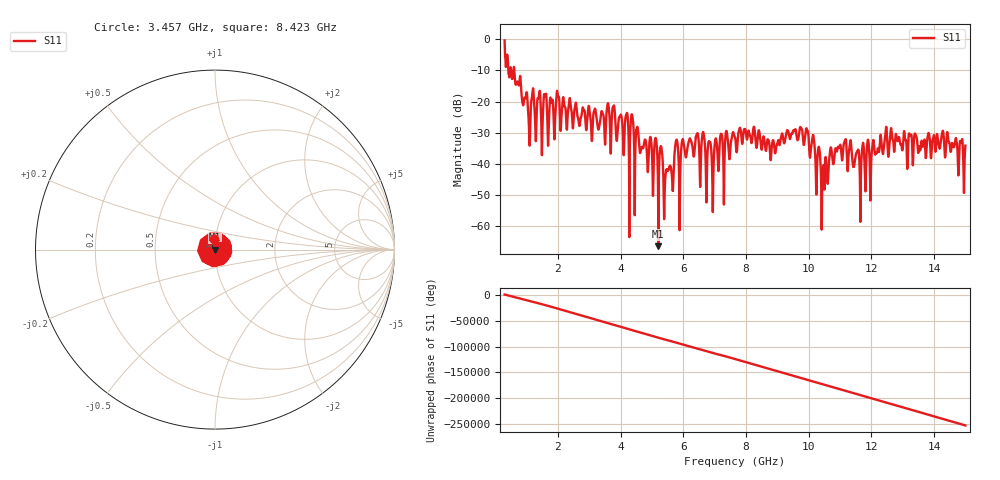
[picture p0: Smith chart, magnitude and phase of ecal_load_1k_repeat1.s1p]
# GHZ S RI R 50.0
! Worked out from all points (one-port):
!   12801 points, 300 MHz to 15 GHz, reference 50 ohm
!   lowest |S11| = -66.4 dB at 5.204 GHz (marker M1), VSWR 1.00, Z = 50 - j0.0342 ohm
!   |S11| at or under -10 dB: 417.8 MHz to 482.1 MHz (64.37 MHz wide, 14.3 % of centre); 504.7 MHz to 582.9 MHz (78.22 MHz wide, 14.4 % of centre); 608.1 MHz to end of sweep
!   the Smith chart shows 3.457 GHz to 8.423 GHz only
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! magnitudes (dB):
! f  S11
! 300 MHz  -0.4
! 1.089 GHz  -32.2
! 1.197 GHz  -16.4
! 1.304 GHz  -30.9
! 1.392 GHz  -18.4
! 2.138 GHz  -21.8
! 3.975 GHz  -24.8
! 5.204 GHz  -66.4
! 5.297 GHz  -34.5
! 5.434 GHz  -43.6
! 5.812 GHz  -33.2
! 6.435 GHz  -30.5
! 6.745 GHz  -46.9
! 6.841 GHz  -32.9
! 6.939 GHz  -54.1
! 7.204 GHz  -30.4
! 7.65 GHz  -31.4
! 8.826 GHz  -34.4
! 9.488 GHz  -30.0
! 10.14 GHz  -30.8
! 10.45 GHz  -42.5
! 10.71 GHz  -34.7
! 11.32 GHz  -32.7
! 11.63 GHz  -41.3
! 12.45 GHz  -30.1
! 13.16 GHz  -38.2
! 14.26 GHz  -30.2
! 15 GHz  -34.2
